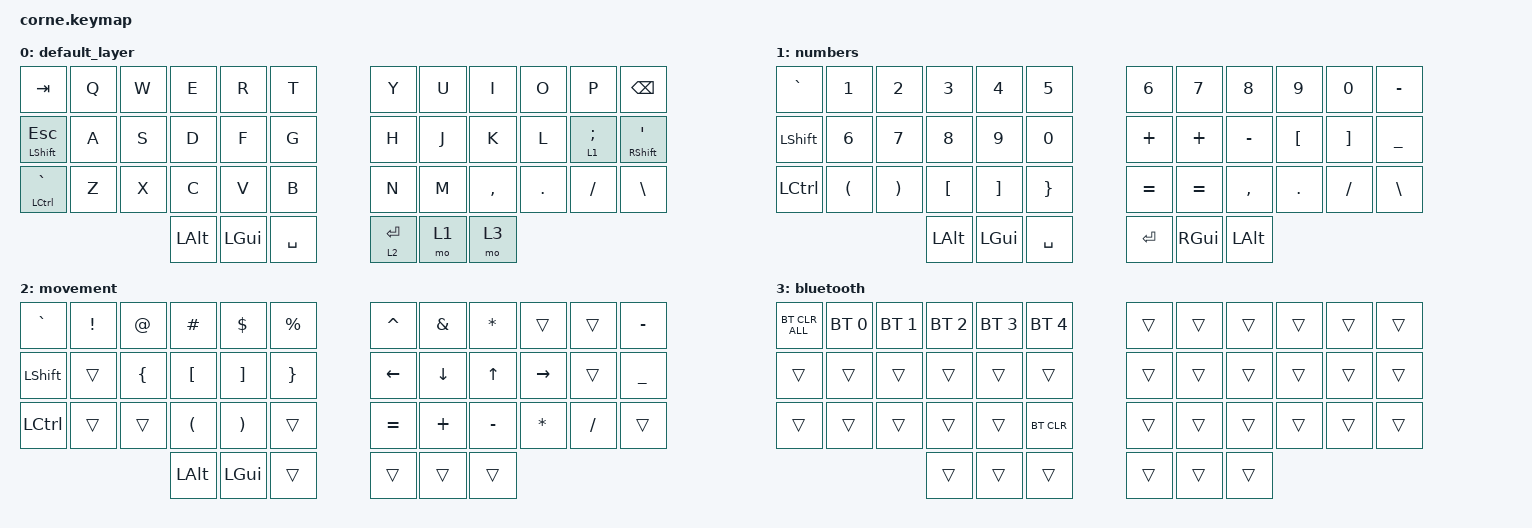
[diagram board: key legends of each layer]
/*
 * Copyright (c) 2020 The ZMK Contributors
 *
 * SPDX-License-Identifier: MIT
 */

#include <behaviors.dtsi>
#include <dt-bindings/zmk/bt.h>
#include <dt-bindings/zmk/keys.h>

/ {
    behaviors {
        hm: homerow_mods {
            compatible = "zmk,behavior-hold-tap";
            #binding-cells = <2>;
            tapping-term-ms = <150>;
            quick-tap-ms = <0>;
            flavor = "tap-preferred";
            bindings = <&kp>, <&kp>;
        };

        bhm: balanced_homerow_mods {
            compatible = "zmk,behavior-hold-tap";
            #binding-cells = <2>;
            tapping-term-ms = <200>;    // <---[[moderate duration]]
            quick-tap-ms = <0>;
            flavor = "balanced";
            bindings = <&kp>, <&kp>;
        };

        lm: lm {
            compatible = "zmk,behavior-macro-two-param";
            wait-ms = <0>;
            tap-ms = <0>;
            #binding-cells = <2>;
            bindings =
                <&macro_param_1to1>,
                <&macro_press>,
                <&mo MACRO_PLACEHOLDER &macro_param_2to1>,
                <&macro_press>,
                <&kp MACRO_PLACEHOLDER>,
                <&macro_pause_for_release>,
                <&macro_param_2to1>,
                <&macro_release>,
                <&kp MACRO_PLACEHOLDER &macro_param_1to1>,
                <&macro_release>,
                <&mo MACRO_PLACEHOLDER>;
        };
    };

    macros {
    };

    keymap {
        compatible = "zmk,keymap";

        default_layer {
            bindings = <
&kp TAB             &kp Q  &kp W  &kp E         &kp R         &kp T        &kp Y      &kp U  &kp I      &kp O    &kp P            &kp BACKSPACE
&mt LEFT_SHIFT ESC  &kp A  &kp S  &kp D         &kp F         &kp G        &kp H      &kp J  &kp K      &kp L    &lt 1 SEMICOLON  &bhm RIGHT_SHIFT SQT
&mt LCTRL GRAVE     &kp Z  &kp X  &kp C         &kp V         &kp B        &kp N      &kp M  &kp COMMA  &kp DOT  &kp FSLH         &kp BACKSLASH
                                  &kp LEFT_ALT  &kp LEFT_GUI  &kp SPACE    &lt 2 RET  &mo 1  &mo 3
            >;
        };

        numbers {
            bindings = <
&kp GRAVE       &kp N1                &kp N2                 &kp N3            &kp N4             &kp N5             &kp NUMBER_6  &kp N7         &kp N8        &kp N9            &kp N0             &kp MINUS
&kp LEFT_SHIFT  &kp NUMBER_6          &kp N7                 &kp N8            &kp N9             &kp N0             &kp PLUS      &kp PLUS       &kp MINUS     &kp LEFT_BRACKET  &kp RIGHT_BRACKET  &kp UNDERSCORE
&kp LCTRL       &kp LEFT_PARENTHESIS  &kp RIGHT_PARENTHESIS  &kp LEFT_BRACKET  &kp RIGHT_BRACKET  &kp RIGHT_BRACE    &kp EQUAL     &kp EQUAL      &kp COMMA     &kp PERIOD        &kp SLASH          &kp BACKSLASH
                                                             &kp LEFT_ALT      &kp LEFT_GUI       &kp SPACE          &kp RETURN    &kp RIGHT_GUI  &kp LEFT_ALT
            >;
        };

        movement {
            bindings = <
&kp GRAVE       &kp EXCLAMATION  &kp AT_SIGN     &kp HASH              &kp DOLLAR             &kp PERCENT        &kp CARET  &kp AMPERSAND  &kp ASTERISK  &trans        &trans     &kp MINUS
&kp LEFT_SHIFT  &trans           &kp LEFT_BRACE  &kp LEFT_BRACKET      &kp RIGHT_BRACKET      &kp RIGHT_BRACE    &kp LEFT   &kp DOWN       &kp UP_ARROW  &kp RIGHT     &trans     &kp UNDERSCORE
&kp LCTRL       &trans           &trans          &kp LEFT_PARENTHESIS  &kp RIGHT_PARENTHESIS  &trans             &kp EQUAL  &kp PLUS       &kp MINUS     &kp ASTERISK  &kp SLASH  &trans
                                                 &kp LEFT_ALT          &kp LEFT_GUI           &trans             &trans     &trans         &trans
            >;
        };

        bluetooth {
            bindings = <
&bt BT_CLR_ALL  &bt BT_SEL 0  &bt BT_SEL 1  &bt BT_SEL 2  &bt BT_SEL 3  &bt BT_SEL 4    &trans  &trans  &trans  &trans  &trans  &trans
&trans          &trans        &trans        &trans        &trans        &trans          &trans  &trans  &trans  &trans  &trans  &trans
&trans          &trans        &trans        &trans        &trans        &bt BT_CLR      &trans  &trans  &trans  &trans  &trans  &trans
                                            &trans        &trans        &trans          &trans  &trans  &trans
            >;
        };
    };
};
